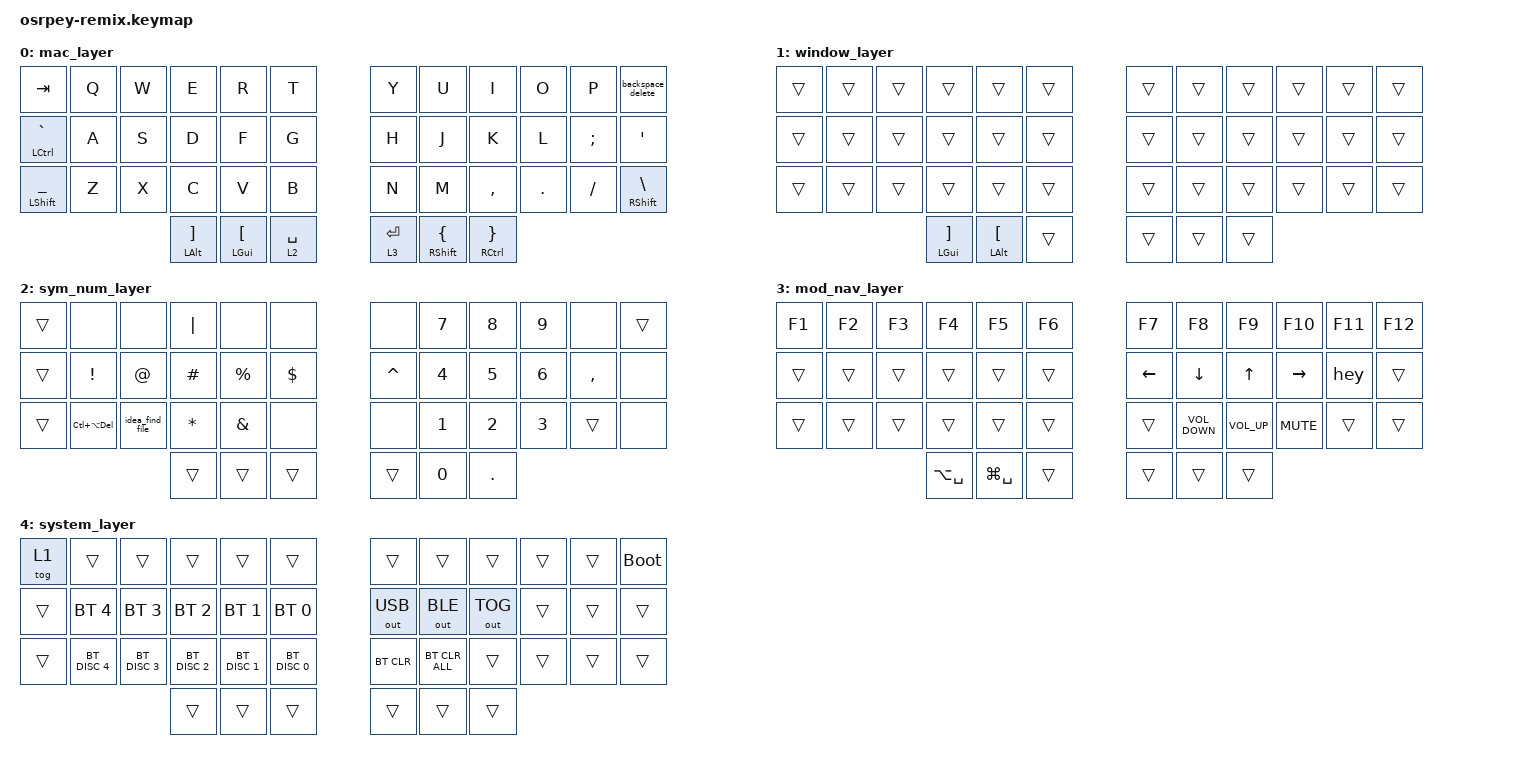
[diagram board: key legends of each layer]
#include <behaviors.dtsi>
#include <dt-bindings/zmk/bt.h>
#include <dt-bindings/zmk/keys.h>
#include <dt-bindings/zmk/outputs.h>

&lt { flavor = "hold-preferred"; };

/ {
    combos {
        compatible = "zmk,combos";

        left_input_source {
            bindings = <&kp CAPSLOCK>;
            key-positions = <38 16>;
        };

        right_input_source {
            bindings = <&kp CAPSLOCK>;
            key-positions = <39 19>;
        };

        escape_left {
            bindings = <&kp ESCAPE>;
            key-positions = <16 15>;
        };

        escape_right {
            bindings = <&kp ESCAPE>;
            key-positions = <20 19>;
        };

        equal_base {
            bindings = <&kp EQUAL>;
            key-positions = <32 31>;
        };

        minus {
            bindings = <&kp MINUS>;
            key-positions = <28 27>;
        };

        open_paren {
            bindings = <&kp LEFT_PARENTHESIS>;
            key-positions = <16 15 14>;
        };

        close_paren {
            bindings = <&kp RIGHT_PARENTHESIS>;
            key-positions = <19 20 21>;
        };

        plus {
            bindings = <&kp PLUS>;
            key-positions = <28 26 27>;
        };
    };

    macros {
        hey: hey {
            compatible = "zmk,behavior-macro";
            #binding-cells = <0>;
            bindings = <&kp LS(G) &kp T &kp N0 &kp E &kp T &kp T &kp LS(F) &kp LS(J) &kp LS(V) &kp W &kp LS(G) &kp V &kp LS(D) &kp R &kp N2 &kp LS(V)>;
            label = "HEY";
        };

        idea_find_file: idea_find_file {
            compatible = "zmk,behavior-macro";
            #binding-cells = <0>;
            bindings = <&kp LEFT_SHIFT &kp LEFT_SHIFT &kp LEFT_SHIFT>;
            label = "IDEA_FIND_FILE";
        };
    };

    behaviors {
        backspace_delete: backspace_delete {
            compatible = "zmk,behavior-mod-morph";
            label = "BACKSPACE_DELETE";
            bindings = <&kp BACKSPACE>, <&kp DELETE>;

            #binding-cells = <0>;
            mods = <(MOD_LSFT|MOD_RSFT)>;
        };
    };

    keymap {
        compatible = "zmk,keymap";

        mac_layer {
            bindings = <
&kp TAB                    &kp Q  &kp W  &kp E                       &kp R                      &kp T        &kp Y        &kp U                       &kp I                          &kp O    &kp P          &backspace_delete
&mt LEFT_CONTROL GRAVE     &kp A  &kp S  &kp D                       &kp F                      &kp G        &kp H        &kp J                       &kp K                          &kp L    &kp SEMICOLON  &kp SINGLE_QUOTE
&mt LEFT_SHIFT UNDERSCORE  &kp Z  &kp X  &kp C                       &kp V                      &kp B        &kp N        &kp M                       &kp COMMA                      &kp DOT  &kp FSLH       &mt RIGHT_SHIFT BACKSLASH
                                         &mt LEFT_ALT RIGHT_BRACKET  &mt LEFT_GUI LEFT_BRACKET  &lt 2 SPACE  &lt 3 ENTER  &mt RIGHT_SHIFT LEFT_BRACE  &mt RIGHT_CONTROL RIGHT_BRACE
            >;
        };

        window_layer {
            bindings = <
&trans  &trans  &trans  &trans                      &trans                     &trans  &trans  &trans  &trans  &trans  &trans  &trans
&trans  &trans  &trans  &trans                      &trans                     &trans  &trans  &trans  &trans  &trans  &trans  &trans
&trans  &trans  &trans  &trans                      &trans                     &trans  &trans  &trans  &trans  &trans  &trans  &trans
                        &mt LEFT_GUI RIGHT_BRACKET  &mt LEFT_ALT LEFT_BRACKET  &trans  &trans  &trans  &trans
            >;
        };

        sym_num_layer {
            bindings = <
&trans  &none               &none            &kp PIPE      &none          &none       &none      &kp N7        &kp N8      &kp N9  &none      &trans
&trans  &kp EXCL            &kp AT           &kp HASH      &kp PERCENT    &kp DOLLAR  &kp CARET  &kp N4        &kp N5      &kp N6  &kp COMMA  &none
&trans  &kp LC(LA(DELETE))  &idea_find_file  &kp ASTERISK  &kp AMPERSAND  &none       &none      &kp N1        &kp N2      &kp N3  &trans     &none
                                             &trans        &trans         &trans      &trans     &kp NUMBER_0  &kp PERIOD
            >;
        };

        mod_nav_layer {
            bindings = <
&kp F1  &kp F2  &kp F3  &kp F4         &kp F5         &kp F6  &kp F7          &kp F8             &kp F9           &kp F10          &kp F11  &kp F12
&trans  &trans  &trans  &trans         &trans         &trans  &kp LEFT_ARROW  &kp DOWN_ARROW     &kp UP_ARROW     &kp RIGHT_ARROW  &hey     &trans
&trans  &trans  &trans  &trans         &trans         &trans  &trans          &kp C_VOLUME_DOWN  &kp C_VOLUME_UP  &kp K_MUTE       &trans   &trans
                        &kp LA(SPACE)  &kp LG(SPACE)  &trans  &trans          &trans             &trans
            >;
        };

        system_layer {
            bindings = <
&tog 1  &trans         &trans         &trans         &trans         &trans         &trans        &trans          &trans        &trans  &trans  &bootloader
&trans  &bt BT_SEL 4   &bt BT_SEL 3   &bt BT_SEL 2   &bt BT_SEL 1   &bt BT_SEL 0   &out OUT_USB  &out OUT_BLE    &out OUT_TOG  &trans  &trans  &trans
&trans  &bt BT_DISC 4  &bt BT_DISC 3  &bt BT_DISC 2  &bt BT_DISC 1  &bt BT_DISC 0  &bt BT_CLR    &bt BT_CLR_ALL  &trans        &trans  &trans  &trans
                                      &trans         &trans         &trans         &trans        &trans          &trans
            >;
        };
    };

    conditional_layers {
        compatible = "zmk,conditional-layers";

        kbd_layer {
            if-layers = <2 3>;
            then-layer = <4>;
        };
    };
};
